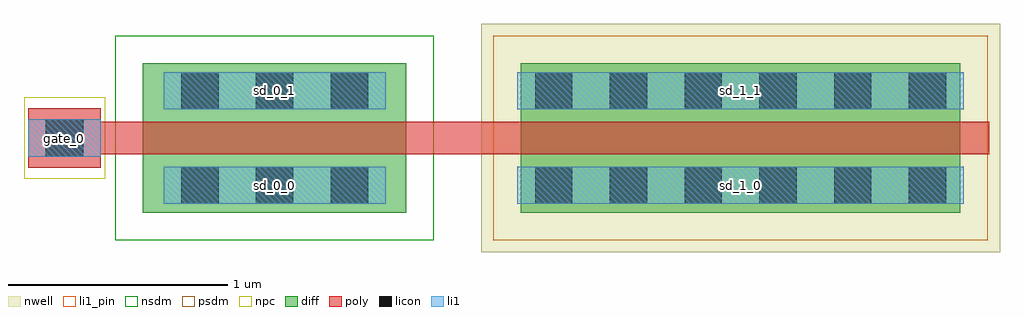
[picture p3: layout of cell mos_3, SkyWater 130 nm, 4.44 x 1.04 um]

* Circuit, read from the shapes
.subckt mos_3 gate_0 sd_0_0 sd_0_1 sd_1_0 sd_1_1
XM1 sd_0_1 gate_0 sd_0_0 VSUBS sky130_fd_pr__nfet_01v8 w=1.2 l=0.15
XM2 sd_1_1 gate_0 sd_1_0 n1 sky130_fd_pr__pfet_01v8 w=2 l=0.15
.ends

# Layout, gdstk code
import gdstk
lib = gdstk.Library(unit=1e-6, precision=1e-09)
def R(c, l, rs):  # rectangles x0, y0, x1, y1
    for r in rs: c.add(gdstk.rectangle(r[:2], r[2:], *l))
def A(c, l, x, y, w, h, nx, ny, dx, dy):  # array of equal rectangles
    R(c, l, [(x+i*dx, y+j*dy, x+i*dx+w, y+j*dy+h) for i in range(nx) for j in range(ny)])
nwell = (64, 20)
diff = (65, 20)
poly = (66, 20)
licon = (66, 44)
li1_pin = (67, 16)
li1 = (67, 20)
nsdm = (93, 44)
psdm = (94, 20)
npc = (95, 20)

via = lib.new_cell('via')
R(via, poly, [(-0.165,-0.135,0.165,0.135)])
R(via, licon, [(-0.085,-0.085,0.085,0.085)])
R(via, li1, [(-0.165,-0.085,0.165,0.085)])
R(via, npc, [(-0.185,-0.185,0.185,0.185)])

via_42 = lib.new_cell('via_42')
R(via_42, diff, [(0.115,-0.125,1.085,0.125)])
A(via_42, licon, 0.175, -0.085, 0.17, 0.17, 3, 1, 0.34, 0)
R(via_42, li1, [(0.095,-0.085,1.105,0.085)])

via_16 = lib.new_cell('via_16')
R(via_16, diff, [(0.005,-0.125,1.995,0.125)])
A(via_16, licon, 0.065, -0.085, 0.17, 0.17, 6, 1, 0.34, 0)
R(via_16, li1, [(-0.015,-0.085,2.015,0.085)])

mos_3 = lib.new_cell('mos_3')
R(mos_3, nwell, [(1.54,-0.18,3.9,0.86)])
R(mos_3, diff, [(0,0,1.2,0.68), (1.72,0,3.72,0.68)])
R(mos_3, poly, [(-0.19,0.265,3.85,0.415)])
R(mos_3, li1_pin, [(0.095,0.04,1.105,0.21), (1.705,0.04,3.735,0.21), (-0.52,0.255,-0.19,0.425), (0.095,0.47,1.105,0.64), (1.705,0.47,3.735,0.64)])
R(mos_3, li1, [(0.095,0.04,1.105,0.21), (1.705,0.04,3.735,0.21), (-0.52,0.255,-0.19,0.425), (0.095,0.47,1.105,0.64), (1.705,0.47,3.735,0.64)])
R(mos_3, nsdm, [(-0.125,-0.125,1.325,0.805)])
R(mos_3, psdm, [(1.595,-0.125,3.845,0.805)])
R(mos_3, npc, [(-0.54,0.155,-0.17,0.525)])
mos_3.add(gdstk.Reference(via, (-0.355,0.34)))
mos_3.add(gdstk.Reference(via_42, (0,0.125)))
mos_3.add(gdstk.Reference(via_16, (1.72,0.125)))
mos_3.add(gdstk.Reference(via_42, (0,0.555)))
mos_3.add(gdstk.Reference(via_16, (1.72,0.555)))
mos_3.add(gdstk.Label('sd_1_0', (2.72,0.125), layer=67, texttype=5))
mos_3.add(gdstk.Label('sd_0_1', (0.6,0.555), layer=67, texttype=5))
mos_3.add(gdstk.Label('sd_1_1', (2.72,0.555), layer=67, texttype=5))
mos_3.add(gdstk.Label('sd_0_0', (0.6,0.125), layer=67, texttype=5))
mos_3.add(gdstk.Label('gate_0', (-0.355,0.34), layer=67, texttype=5))

lib.write_gds('mos_3.gds')
